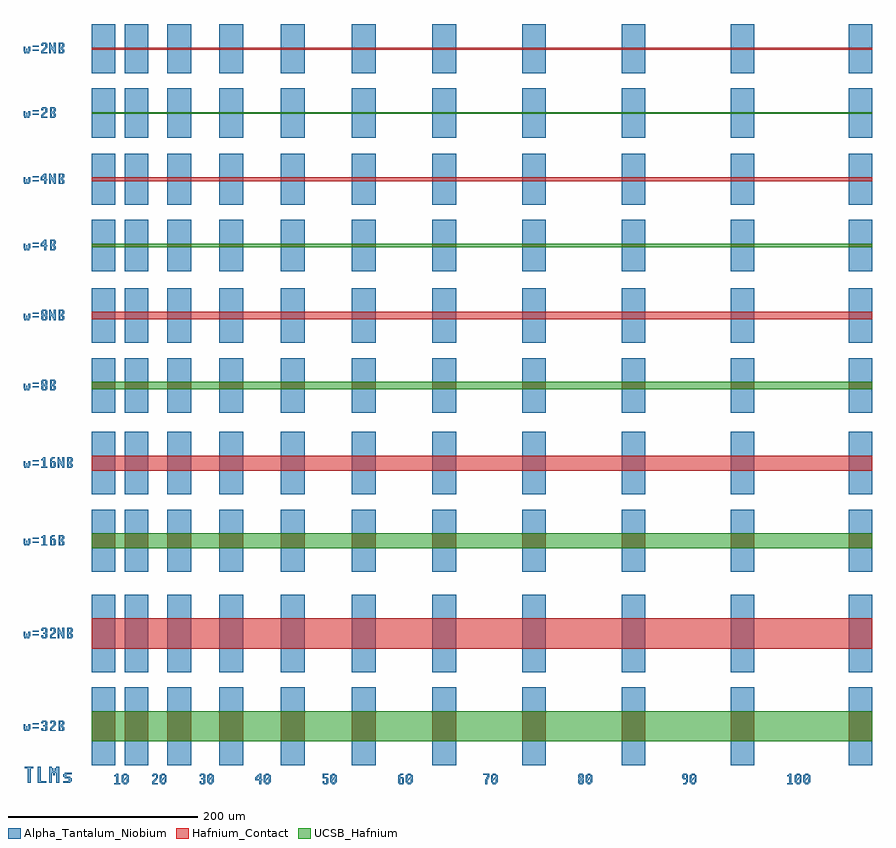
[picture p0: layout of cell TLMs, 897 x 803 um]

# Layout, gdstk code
import gdstk
lib = gdstk.Library(unit=1e-6, precision=1e-09)
def R(c, l, rs):  # rectangles x0, y0, x1, y1
    for r in rs: c.add(gdstk.rectangle(r[:2], r[2:], *l))
def P(c, l, *ps):  # polygons
    for p in ps: c.add(gdstk.Polygon(p, *l))
Alpha_Tantalum_Niobium = (0, 0)
UCSB_Hafnium = (1, 0)
Hafnium_Contact = (2, 0)

tlms = lib.new_cell('TLMs')
R(tlms, Alpha_Tantalum_Niobium, [(35,-56,36,-55), (75,-56,76,-55), (125,-56,126,-55), (185,-56,186,-55), (255,-56,256,-55), (335,-56,336,-55), (425,-56,426,-55), (525,-56,526,-55), (635,-56,636,-55), (746,-56,747,-55), (755,-56,756,-55), (0,-41,25,41), (35,-41,60,41), (35,-41,60,41), (80,-41,105,41), (80,-41,105,41), (135,-41,160,41), (135,-41,160,41), (200,-41,225,41), (200,-41,225,41), (275,-41,300,41), (275,-41,300,41), (360,-41,385,41), (360,-41,385,41), (455,-41,480,41), (455,-41,480,41), (560,-41,585,41), (560,-41,585,41), (675,-41,700,41), (675,-41,700,41), (800,-41,825,41), (-62,-2,-56,-1), (-62,2,-56,3), (0,57,25,139), (35,57,60,139), (35,57,60,139), (80,57,105,139), (80,57,105,139), (135,57,160,139), (135,57,160,139), (200,57,225,139), (200,57,225,139), (275,57,300,139), (275,57,300,139), (360,57,385,139), (360,57,385,139), (455,57,480,139), (455,57,480,139), (560,57,585,139), (560,57,585,139), (675,57,700,139), (675,57,700,139), (800,57,825,139), (-62,96,-56,97), (-62,100,-56,101), (0,163,25,229), (35,163,60,229), (35,163,60,229), (80,163,105,229), (80,163,105,229), (135,163,160,229), (135,163,160,229), (200,163,225,229), (200,163,225,229), (275,163,300,229), (275,163,300,229), (360,163,385,229), (360,163,385,229), (455,163,480,229), (455,163,480,229), (560,163,585,229), (560,163,585,229), (675,163,700,229), (675,163,700,229), (800,163,825,229), (-62,194,-56,195), (-62,198,-56,199), (0,245,25,311), (35,245,60,311), (35,245,60,311), (80,245,105,311), (80,245,105,311), (135,245,160,311), (135,245,160,311), (200,245,225,311), (200,245,225,311), (275,245,300,311), (275,245,300,311), (360,245,385,311), (360,245,385,311), (455,245,480,311), (455,245,480,311), (560,245,585,311), (560,245,585,311), (675,245,700,311), (675,245,700,311), (800,245,825,311), (-62,276,-56,277), (-62,280,-56,281), (0,331,25,389), (35,331,60,389), (35,331,60,389), (80,331,105,389), (80,331,105,389), (135,331,160,389), (135,331,160,389), (200,331,225,389), (200,331,225,389), (275,331,300,389), (275,331,300,389), (360,331,385,389), (360,331,385,389), (455,331,480,389), (455,331,480,389), (560,331,585,389), (560,331,585,389), (675,331,700,389), (675,331,700,389), (800,331,825,389), (-62,358,-56,359), (-62,362,-56,363), (0,405,25,463), (35,405,60,463), (35,405,60,463), (80,405,105,463), (80,405,105,463), (135,405,160,463), (135,405,160,463), (200,405,225,463), (200,405,225,463), (275,405,300,463), (275,405,300,463), (360,405,385,463), (360,405,385,463), (455,405,480,463), (455,405,480,463), (560,405,585,463), (560,405,585,463), (675,405,700,463), (675,405,700,463), (800,405,825,463), (-62,432,-56,433), (-62,436,-56,437), (0,481,25,535), (35,481,60,535), (35,481,60,535), (80,481,105,535), (80,481,105,535), (135,481,160,535), (135,481,160,535), (200,481,225,535), (200,481,225,535), (275,481,300,535), (275,481,300,535), (360,481,385,535), (360,481,385,535), (455,481,480,535), (455,481,480,535), (560,481,585,535), (560,481,585,535), (675,481,700,535), (675,481,700,535), (800,481,825,535), (-62,506,-56,507), (-62,510,-56,511), (0,551,25,605), (35,551,60,605), (35,551,60,605), (80,551,105,605), (80,551,105,605), (135,551,160,605), (135,551,160,605), (200,551,225,605), (200,551,225,605), (275,551,300,605), (275,551,300,605), (360,551,385,605), (360,551,385,605), (455,551,480,605), (455,551,480,605), (560,551,585,605), (560,551,585,605), (675,551,700,605), (675,551,700,605), (800,551,825,605), (-62,576,-56,577), (-62,580,-56,581), (0,622,25,674), (35,622,60,674), (35,622,60,674), (80,622,105,674), (80,622,105,674), (135,622,160,674), (135,622,160,674), (200,622,225,674), (200,622,225,674), (275,622,300,674), (275,622,300,674), (360,622,385,674), (360,622,385,674), (455,622,480,674), (455,622,480,674), (560,622,585,674), (560,622,585,674), (675,622,700,674), (675,622,700,674), (800,622,825,674), (-62,646,-56,647), (-62,650,-56,651), (0,690,25,742), (35,690,60,742), (35,690,60,742), (80,690,105,742), (80,690,105,742), (135,690,160,742), (135,690,160,742), (200,690,225,742), (200,690,225,742), (275,690,300,742), (275,690,300,742), (360,690,385,742), (360,690,385,742), (455,690,480,742), (455,690,480,742), (560,690,585,742), (560,690,585,742), (675,690,700,742), (675,690,700,742), (800,690,825,742), (-62,714,-56,715), (-62,718,-56,719)])
P(tlms, Alpha_Tantalum_Niobium, [(-71,-3),(-71,-5),(-69,-5),(-69,-4),(-68,-4),(-68,-5),(-66,-5),(-66,-3),(-65,-3),(-65,2),(-67,2),(-67,-3),(-68,-3),(-68,0),(-69,0),(-69,-3),(-70,-3),(-70,2),(-72,2),(-72,-3)],
  [(-52,-4),(-52,-5),(-48,-5),(-48,-4),(-47,-4),(-47,0),(-48,0),(-48,1),(-47,1),(-47,5),(-48,5),(-48,6),(-52,6),(-52,5),(-53,5),(-53,3),(-51,3),(-51,5),(-49,5),(-49,1),(-51,1),(-51,0),(-49,0),(-49,-4),(-51,-4),(-51,-2),(-53,-2),(-53,-4)],
  [(-44,3),(-42,3),(-42,5),(-40,5),(-40,1),(-41,1),(-41,0),(-42,0),(-42,-1),(-43,-1),(-43,-2),(-44,-2),(-44,-5),(-38,-5),(-38,-4),(-42,-4),(-42,-2),(-41,-2),(-41,-1),(-40,-1),(-40,0),(-39,0),(-39,1),(-38,1),(-38,5),(-39,5),(-39,6),(-43,6),(-43,5),(-44,5)],
  [(-29,-1),(-30,-1),(-30,0),(-31,0),(-31,1),(-30,1),(-30,2),(-29,2),(-29,5),(-30,5),(-30,6),(-35,6),(-35,1),(-33,1),(-33,5),(-31,5),(-31,2),(-32,2),(-32,1),(-33,1),(-35,1),(-35,-4),(-33,-4),(-33,0),(-32,0),(-32,-1),(-31,-1),(-31,-4),(-33,-4),(-35,-4),(-35,-5),(-30,-5),(-30,-4),(-29,-4)],
  [(-71,95),(-71,93),(-69,93),(-69,94),(-68,94),(-68,93),(-66,93),(-66,95),(-65,95),(-65,100),(-67,100),(-67,95),(-68,95),(-68,98),(-69,98),(-69,95),(-70,95),(-70,100),(-72,100),(-72,95)],
  [(-52,94),(-52,93),(-48,93),(-48,94),(-47,94),(-47,98),(-48,98),(-48,99),(-47,99),(-47,103),(-48,103),(-48,104),(-52,104),(-52,103),(-53,103),(-53,101),(-51,101),(-51,103),(-49,103),(-49,99),(-51,99),(-51,98),(-49,98),(-49,94),(-51,94),(-51,96),(-53,96),(-53,94)],
  [(-44,101),(-42,101),(-42,103),(-40,103),(-40,99),(-41,99),(-41,98),(-42,98),(-42,97),(-43,97),(-43,96),(-44,96),(-44,93),(-38,93),(-38,94),(-42,94),(-42,96),(-41,96),(-41,97),(-40,97),(-40,98),(-39,98),(-39,99),(-38,99),(-38,103),(-39,103),(-39,104),(-43,104),(-43,103),(-44,103)],
  [(-34,93),(-34,98),(-33,98),(-33,97),(-32,97),(-32,95),(-31,95),(-31,93),(-29,93),(-29,104),(-31,104),(-31,99),(-32,99),(-32,100),(-33,100),(-33,102),(-34,102),(-34,104),(-36,104),(-36,93)],
  [(-20,97),(-21,97),(-21,98),(-22,98),(-22,99),(-21,99),(-21,100),(-20,100),(-20,103),(-21,103),(-21,104),(-26,104),(-26,99),(-24,99),(-24,103),(-22,103),(-22,100),(-23,100),(-23,99),(-24,99),(-26,99),(-26,94),(-24,94),(-24,98),(-23,98),(-23,97),(-22,97),(-22,94),(-24,94),(-26,94),(-26,93),(-21,93),(-21,94),(-20,94)],
  [(-71,193),(-71,191),(-69,191),(-69,192),(-68,192),(-68,191),(-66,191),(-66,193),(-65,193),(-65,198),(-67,198),(-67,193),(-68,193),(-68,196),(-69,196),(-69,193),(-70,193),(-70,198),(-72,198),(-72,193)],
  [(-52,200),(-53,200),(-53,199),(-51,199),(-51,192),(-53,192),(-53,191),(-47,191),(-47,192),(-49,192),(-49,202),(-51,202),(-51,201),(-52,201)],
  [(-38,197),(-39,197),(-39,198),(-42,198),(-42,200),(-41,200),(-41,201),(-39,201),(-39,202),(-42,202),(-42,201),(-43,201),(-43,200),(-44,200),(-44,192),(-42,192),(-42,197),(-40,197),(-40,192),(-42,192),(-44,192),(-43,192),(-43,191),(-39,191),(-39,192),(-38,192)],
  [(-29,195),(-30,195),(-30,196),(-31,196),(-31,197),(-30,197),(-30,198),(-29,198),(-29,201),(-30,201),(-30,202),(-35,202),(-35,197),(-33,197),(-33,201),(-31,201),(-31,198),(-32,198),(-32,197),(-33,197),(-35,197),(-35,192),(-33,192),(-33,196),(-32,196),(-32,195),(-31,195),(-31,192),(-33,192),(-35,192),(-35,191),(-30,191),(-30,192),(-29,192)],
  [(-71,275),(-71,273),(-69,273),(-69,274),(-68,274),(-68,273),(-66,273),(-66,275),(-65,275),(-65,280),(-67,280),(-67,275),(-68,275),(-68,278),(-69,278),(-69,275),(-70,275),(-70,280),(-72,280),(-72,275)],
  [(-52,282),(-53,282),(-53,281),(-51,281),(-51,274),(-53,274),(-53,273),(-47,273),(-47,274),(-49,274),(-49,284),(-51,284),(-51,283),(-52,283)],
  [(-38,279),(-39,279),(-39,280),(-42,280),(-42,282),(-41,282),(-41,283),(-39,283),(-39,284),(-42,284),(-42,283),(-43,283),(-43,282),(-44,282),(-44,274),(-42,274),(-42,279),(-40,279),(-40,274),(-42,274),(-44,274),(-43,274),(-43,273),(-39,273),(-39,274),(-38,274)],
  [(-34,273),(-34,278),(-33,278),(-33,277),(-32,277),(-32,275),(-31,275),(-31,273),(-29,273),(-29,284),(-31,284),(-31,279),(-32,279),(-32,280),(-33,280),(-33,282),(-34,282),(-34,284),(-36,284),(-36,273)],
  [(-20,277),(-21,277),(-21,278),(-22,278),(-22,279),(-21,279),(-21,280),(-20,280),(-20,283),(-21,283),(-21,284),(-26,284),(-26,279),(-24,279),(-24,283),(-22,283),(-22,280),(-23,280),(-23,279),(-24,279),(-26,279),(-26,274),(-24,274),(-24,278),(-23,278),(-23,277),(-22,277),(-22,274),(-24,274),(-26,274),(-26,273),(-21,273),(-21,274),(-20,274)],
  [(-71,357),(-71,355),(-69,355),(-69,356),(-68,356),(-68,355),(-66,355),(-66,357),(-65,357),(-65,362),(-67,362),(-67,357),(-68,357),(-68,360),(-69,360),(-69,357),(-70,357),(-70,362),(-72,362),(-72,357)],
  [(-47,360),(-48,360),(-48,361),(-47,361),(-47,365),(-48,365),(-48,366),(-52,366),(-52,365),(-53,365),(-53,362),(-51,362),(-51,365),(-49,365),(-49,361),(-50,361),(-50,362),(-51,362),(-53,362),(-53,361),(-52,361),(-52,360),(-53,360),(-53,356),(-51,356),(-51,360),(-50,360),(-50,359),(-49,359),(-49,356),(-51,356),(-53,356),(-52,356),(-52,355),(-48,355),(-48,356),(-47,356)],
  [(-38,359),(-39,359),(-39,360),(-40,360),(-40,361),(-39,361),(-39,362),(-38,362),(-38,365),(-39,365),(-39,366),(-44,366),(-44,361),(-42,361),(-42,365),(-40,365),(-40,362),(-41,362),(-41,361),(-42,361),(-44,361),(-44,356),(-42,356),(-42,360),(-41,360),(-41,359),(-40,359),(-40,356),(-42,356),(-44,356),(-44,355),(-39,355),(-39,356),(-38,356)],
  [(-71,431),(-71,429),(-69,429),(-69,430),(-68,430),(-68,429),(-66,429),(-66,431),(-65,431),(-65,436),(-67,436),(-67,431),(-68,431),(-68,434),(-69,434),(-69,431),(-70,431),(-70,436),(-72,436),(-72,431)],
  [(-47,434),(-48,434),(-48,435),(-47,435),(-47,439),(-48,439),(-48,440),(-52,440),(-52,439),(-53,439),(-53,436),(-51,436),(-51,439),(-49,439),(-49,435),(-50,435),(-50,436),(-51,436),(-53,436),(-53,435),(-52,435),(-52,434),(-53,434),(-53,430),(-51,430),(-51,434),(-50,434),(-50,433),(-49,433),(-49,430),(-51,430),(-53,430),(-52,430),(-52,429),(-48,429),(-48,430),(-47,430)],
  [(-43,429),(-43,434),(-42,434),(-42,433),(-41,433),(-41,431),(-40,431),(-40,429),(-38,429),(-38,440),(-40,440),(-40,435),(-41,435),(-41,436),(-42,436),(-42,438),(-43,438),(-43,440),(-45,440),(-45,429)],
  [(-29,433),(-30,433),(-30,434),(-31,434),(-31,435),(-30,435),(-30,436),(-29,436),(-29,439),(-30,439),(-30,440),(-35,440),(-35,435),(-33,435),(-33,439),(-31,439),(-31,436),(-32,436),(-32,435),(-33,435),(-35,435),(-35,430),(-33,430),(-33,434),(-32,434),(-32,433),(-31,433),(-31,430),(-33,430),(-35,430),(-35,429),(-30,429),(-30,430),(-29,430)],
  [(-71,505),(-71,503),(-69,503),(-69,504),(-68,504),(-68,503),(-66,503),(-66,505),(-65,505),(-65,510),(-67,510),(-67,505),(-68,505),(-68,508),(-69,508),(-69,505),(-70,505),(-70,510),(-72,510),(-72,505)],
  [(-48,503),(-48,507),(-47,507),(-47,508),(-48,508),(-48,514),(-50,514),(-50,513),(-51,513),(-51,512),(-52,512),(-52,511),(-53,511),(-53,510),(-54,510),(-54,508),(-52,508),(-52,510),(-51,510),(-51,511),(-50,511),(-50,508),(-52,508),(-54,508),(-54,507),(-50,507),(-50,503)],
  [(-38,507),(-39,507),(-39,508),(-40,508),(-40,509),(-39,509),(-39,510),(-38,510),(-38,513),(-39,513),(-39,514),(-44,514),(-44,509),(-42,509),(-42,513),(-40,513),(-40,510),(-41,510),(-41,509),(-42,509),(-44,509),(-44,504),(-42,504),(-42,508),(-41,508),(-41,507),(-40,507),(-40,504),(-42,504),(-44,504),(-44,503),(-39,503),(-39,504),(-38,504)],
  [(-71,575),(-71,573),(-69,573),(-69,574),(-68,574),(-68,573),(-66,573),(-66,575),(-65,575),(-65,580),(-67,580),(-67,575),(-68,575),(-68,578),(-69,578),(-69,575),(-70,575),(-70,580),(-72,580),(-72,575)],
  [(-48,573),(-48,577),(-47,577),(-47,578),(-48,578),(-48,584),(-50,584),(-50,583),(-51,583),(-51,582),(-52,582),(-52,581),(-53,581),(-53,580),(-54,580),(-54,578),(-52,578),(-52,580),(-51,580),(-51,581),(-50,581),(-50,578),(-52,578),(-54,578),(-54,577),(-50,577),(-50,573)],
  [(-43,573),(-43,578),(-42,578),(-42,577),(-41,577),(-41,575),(-40,575),(-40,573),(-38,573),(-38,584),(-40,584),(-40,579),(-41,579),(-41,580),(-42,580),(-42,582),(-43,582),(-43,584),(-45,584),(-45,573)],
  [(-29,577),(-30,577),(-30,578),(-31,578),(-31,579),(-30,579),(-30,580),(-29,580),(-29,583),(-30,583),(-30,584),(-35,584),(-35,579),(-33,579),(-33,583),(-31,583),(-31,580),(-32,580),(-32,579),(-33,579),(-35,579),(-35,574),(-33,574),(-33,578),(-32,578),(-32,577),(-31,577),(-31,574),(-33,574),(-35,574),(-35,573),(-30,573),(-30,574),(-29,574)],
  [(-71,645),(-71,643),(-69,643),(-69,644),(-68,644),(-68,643),(-66,643),(-66,645),(-65,645),(-65,650),(-67,650),(-67,645),(-68,645),(-68,648),(-69,648),(-69,645),(-70,645),(-70,650),(-72,650),(-72,645)],
  [(-53,651),(-51,651),(-51,653),(-49,653),(-49,649),(-50,649),(-50,648),(-51,648),(-51,647),(-52,647),(-52,646),(-53,646),(-53,643),(-47,643),(-47,644),(-51,644),(-51,646),(-50,646),(-50,647),(-49,647),(-49,648),(-48,648),(-48,649),(-47,649),(-47,653),(-48,653),(-48,654),(-52,654),(-52,653),(-53,653)],
  [(-38,647),(-39,647),(-39,648),(-40,648),(-40,649),(-39,649),(-39,650),(-38,650),(-38,653),(-39,653),(-39,654),(-44,654),(-44,649),(-42,649),(-42,653),(-40,653),(-40,650),(-41,650),(-41,649),(-42,649),(-44,649),(-44,644),(-42,644),(-42,648),(-41,648),(-41,647),(-40,647),(-40,644),(-42,644),(-44,644),(-44,643),(-39,643),(-39,644),(-38,644)],
  [(-71,713),(-71,711),(-69,711),(-69,712),(-68,712),(-68,711),(-66,711),(-66,713),(-65,713),(-65,718),(-67,718),(-67,713),(-68,713),(-68,716),(-69,716),(-69,713),(-70,713),(-70,718),(-72,718),(-72,713)],
  [(-53,719),(-51,719),(-51,721),(-49,721),(-49,717),(-50,717),(-50,716),(-51,716),(-51,715),(-52,715),(-52,714),(-53,714),(-53,711),(-47,711),(-47,712),(-51,712),(-51,714),(-50,714),(-50,715),(-49,715),(-49,716),(-48,716),(-48,717),(-47,717),(-47,721),(-48,721),(-48,722),(-52,722),(-52,721),(-53,721)],
  [(-43,711),(-43,716),(-42,716),(-42,715),(-41,715),(-41,713),(-40,713),(-40,711),(-38,711),(-38,722),(-40,722),(-40,717),(-41,717),(-41,718),(-42,718),(-42,720),(-43,720),(-43,722),(-45,722),(-45,711)],
  [(-29,715),(-30,715),(-30,716),(-31,716),(-31,717),(-30,717),(-30,718),(-29,718),(-29,721),(-30,721),(-30,722),(-35,722),(-35,717),(-33,717),(-33,721),(-31,721),(-31,718),(-32,718),(-32,717),(-33,717),(-35,717),(-35,712),(-33,712),(-33,716),(-32,716),(-32,715),(-31,715),(-31,712),(-33,712),(-35,712),(-35,711),(-30,711),(-30,712),(-29,712)],
  [(25,-52),(24,-52),(24,-53),(26,-53),(26,-60),(24,-60),(24,-61),(30,-61),(30,-60),(28,-60),(28,-50),(26,-50),(26,-51),(25,-51)],
  [(38,-59),(39,-59),(39,-52),(38,-52),(38,-51),(37,-51),(37,-50),(34,-50),(34,-51),(33,-51),(33,-52),(32,-52),(32,-59),(34,-59),(34,-57),(35,-57),(35,-56),(34,-56),(34,-52),(35,-52),(35,-51),(36,-51),(36,-52),(37,-52),(37,-54),(36,-54),(36,-55),(37,-55),(37,-59),(36,-59),(36,-60),(35,-60),(35,-59),(34,-59),(32,-59),(33,-59),(33,-60),(34,-60),(34,-61),(37,-61),(37,-60),(38,-60)],
  [(64,-53),(66,-53),(66,-51),(68,-51),(68,-55),(67,-55),(67,-56),(66,-56),(66,-57),(65,-57),(65,-58),(64,-58),(64,-61),(70,-61),(70,-60),(66,-60),(66,-58),(67,-58),(67,-57),(68,-57),(68,-56),(69,-56),(69,-55),(70,-55),(70,-51),(69,-51),(69,-50),(65,-50),(65,-51),(64,-51)],
  [(78,-59),(79,-59),(79,-52),(78,-52),(78,-51),(77,-51),(77,-50),(74,-50),(74,-51),(73,-51),(73,-52),(72,-52),(72,-59),(74,-59),(74,-57),(75,-57),(75,-56),(74,-56),(74,-52),(75,-52),(75,-51),(76,-51),(76,-52),(77,-52),(77,-54),(76,-54),(76,-55),(77,-55),(77,-59),(76,-59),(76,-60),(75,-60),(75,-59),(74,-59),(72,-59),(73,-59),(73,-60),(74,-60),(74,-61),(77,-61),(77,-60),(78,-60)],
  [(115,-60),(115,-61),(119,-61),(119,-60),(120,-60),(120,-56),(119,-56),(119,-55),(120,-55),(120,-51),(119,-51),(119,-50),(115,-50),(115,-51),(114,-51),(114,-53),(116,-53),(116,-51),(118,-51),(118,-55),(116,-55),(116,-56),(118,-56),(118,-60),(116,-60),(116,-58),(114,-58),(114,-60)],
  [(128,-59),(129,-59),(129,-52),(128,-52),(128,-51),(127,-51),(127,-50),(124,-50),(124,-51),(123,-51),(123,-52),(122,-52),(122,-59),(124,-59),(124,-57),(125,-57),(125,-56),(124,-56),(124,-52),(125,-52),(125,-51),(126,-51),(126,-52),(127,-52),(127,-54),(126,-54),(126,-55),(127,-55),(127,-59),(126,-59),(126,-60),(125,-60),(125,-59),(124,-59),(122,-59),(123,-59),(123,-60),(124,-60),(124,-61),(127,-61),(127,-60),(128,-60)],
  [(179,-61),(179,-57),(180,-57),(180,-56),(179,-56),(179,-50),(177,-50),(177,-51),(176,-51),(176,-52),(175,-52),(175,-53),(174,-53),(174,-54),(173,-54),(173,-56),(175,-56),(175,-54),(176,-54),(176,-53),(177,-53),(177,-56),(175,-56),(173,-56),(173,-57),(177,-57),(177,-61)],
  [(188,-59),(189,-59),(189,-52),(188,-52),(188,-51),(187,-51),(187,-50),(184,-50),(184,-51),(183,-51),(183,-52),(182,-52),(182,-59),(184,-59),(184,-57),(185,-57),(185,-56),(184,-56),(184,-52),(185,-52),(185,-51),(186,-51),(186,-52),(187,-52),(187,-54),(186,-54),(186,-55),(187,-55),(187,-59),(186,-59),(186,-60),(185,-60),(185,-59),(184,-59),(182,-59),(183,-59),(183,-60),(184,-60),(184,-61),(187,-61),(187,-60),(188,-60)],
  [(245,-60),(245,-61),(249,-61),(249,-60),(250,-60),(250,-55),(249,-55),(249,-54),(246,-54),(246,-51),(250,-51),(250,-50),(244,-50),(244,-55),(248,-55),(248,-60),(246,-60),(246,-58),(244,-58),(244,-60)],
  [(258,-59),(259,-59),(259,-52),(258,-52),(258,-51),(257,-51),(257,-50),(254,-50),(254,-51),(253,-51),(253,-52),(252,-52),(252,-59),(254,-59),(254,-57),(255,-57),(255,-56),(254,-56),(254,-52),(255,-52),(255,-51),(256,-51),(256,-52),(257,-52),(257,-54),(256,-54),(256,-55),(257,-55),(257,-59),(256,-59),(256,-60),(255,-60),(255,-59),(254,-59),(252,-59),(253,-59),(253,-60),(254,-60),(254,-61),(257,-61),(257,-60),(258,-60)],
  [(330,-55),(329,-55),(329,-54),(326,-54),(326,-52),(327,-52),(327,-51),(329,-51),(329,-50),(326,-50),(326,-51),(325,-51),(325,-52),(324,-52),(324,-60),(326,-60),(326,-55),(328,-55),(328,-60),(326,-60),(324,-60),(325,-60),(325,-61),(329,-61),(329,-60),(330,-60)],
  [(338,-59),(339,-59),(339,-52),(338,-52),(338,-51),(337,-51),(337,-50),(334,-50),(334,-51),(333,-51),(333,-52),(332,-52),(332,-59),(334,-59),(334,-57),(335,-57),(335,-56),(334,-56),(334,-52),(335,-52),(335,-51),(336,-51),(336,-52),(337,-52),(337,-54),(336,-54),(336,-55),(337,-55),(337,-59),(336,-59),(336,-60),(335,-60),(335,-59),(334,-59),(332,-59),(333,-59),(333,-60),(334,-60),(334,-61),(337,-61),(337,-60),(338,-60)],
  [(418,-54),(417,-54),(417,-56),(416,-56),(416,-61),(418,-61),(418,-56),(419,-56),(419,-54),(420,-54),(420,-50),(414,-50),(414,-51),(418,-51)],
  [(428,-59),(429,-59),(429,-52),(428,-52),(428,-51),(427,-51),(427,-50),(424,-50),(424,-51),(423,-51),(423,-52),(422,-52),(422,-59),(424,-59),(424,-57),(425,-57),(425,-56),(424,-56),(424,-52),(425,-52),(425,-51),(426,-51),(426,-52),(427,-52),(427,-54),(426,-54),(426,-55),(427,-55),(427,-59),(426,-59),(426,-60),(425,-60),(425,-59),(424,-59),(422,-59),(423,-59),(423,-60),(424,-60),(424,-61),(427,-61),(427,-60),(428,-60)],
  [(520,-56),(519,-56),(519,-55),(520,-55),(520,-51),(519,-51),(519,-50),(515,-50),(515,-51),(514,-51),(514,-54),(516,-54),(516,-51),(518,-51),(518,-55),(517,-55),(517,-54),(516,-54),(514,-54),(514,-55),(515,-55),(515,-56),(514,-56),(514,-60),(516,-60),(516,-56),(517,-56),(517,-57),(518,-57),(518,-60),(516,-60),(514,-60),(515,-60),(515,-61),(519,-61),(519,-60),(520,-60)],
  [(528,-59),(529,-59),(529,-52),(528,-52),(528,-51),(527,-51),(527,-50),(524,-50),(524,-51),(523,-51),(523,-52),(522,-52),(522,-59),(524,-59),(524,-57),(525,-57),(525,-56),(524,-56),(524,-52),(525,-52),(525,-51),(526,-51),(526,-52),(527,-52),(527,-54),(526,-54),(526,-55),(527,-55),(527,-59),(526,-59),(526,-60),(525,-60),(525,-59),(524,-59),(522,-59),(523,-59),(523,-60),(524,-60),(524,-61),(527,-61),(527,-60),(528,-60)],
  [(628,-59),(627,-59),(627,-60),(625,-60),(625,-61),(628,-61),(628,-60),(629,-60),(629,-59),(630,-59),(630,-51),(629,-51),(629,-50),(625,-50),(625,-51),(624,-51),(624,-55),(626,-55),(626,-51),(628,-51),(628,-55),(626,-55),(624,-55),(625,-55),(625,-56),(628,-56)],
  [(638,-59),(639,-59),(639,-52),(638,-52),(638,-51),(637,-51),(637,-50),(634,-50),(634,-51),(633,-51),(633,-52),(632,-52),(632,-59),(634,-59),(634,-57),(635,-57),(635,-56),(634,-56),(634,-52),(635,-52),(635,-51),(636,-51),(636,-52),(637,-52),(637,-54),(636,-54),(636,-55),(637,-55),(637,-59),(636,-59),(636,-60),(635,-60),(635,-59),(634,-59),(632,-59),(633,-59),(633,-60),(634,-60),(634,-61),(637,-61),(637,-60),(638,-60)],
  [(736,-52),(735,-52),(735,-53),(737,-53),(737,-60),(735,-60),(735,-61),(741,-61),(741,-60),(739,-60),(739,-50),(737,-50),(737,-51),(736,-51)],
  [(749,-59),(750,-59),(750,-52),(749,-52),(749,-51),(748,-51),(748,-50),(745,-50),(745,-51),(744,-51),(744,-52),(743,-52),(743,-59),(745,-59),(745,-57),(746,-57),(746,-56),(745,-56),(745,-52),(746,-52),(746,-51),(747,-51),(747,-52),(748,-52),(748,-54),(747,-54),(747,-55),(748,-55),(748,-59),(747,-59),(747,-60),(746,-60),(746,-59),(745,-59),(743,-59),(744,-59),(744,-60),(745,-60),(745,-61),(748,-61),(748,-60),(749,-60)],
  [(758,-59),(759,-59),(759,-52),(758,-52),(758,-51),(757,-51),(757,-50),(754,-50),(754,-51),(753,-51),(753,-52),(752,-52),(752,-59),(754,-59),(754,-57),(755,-57),(755,-56),(754,-56),(754,-52),(755,-52),(755,-51),(756,-51),(756,-52),(757,-52),(757,-54),(756,-54),(756,-55),(757,-55),(757,-59),(756,-59),(756,-60),(755,-60),(755,-59),(754,-59),(752,-59),(753,-59),(753,-60),(754,-60),(754,-61),(757,-61),(757,-60),(758,-60)],
  [(-64.5,-59.5),(-64.5,-44.5),(-61.5,-44.5),(-61.5,-43),(-70.5,-43),(-70.5,-44.5),(-67.5,-44.5),(-67.5,-59.5)],
  [(-48,-59.5),(-48,-58),(-54,-58),(-54,-43),(-57,-43),(-57,-59.5)],
  [(-42,-59.5),(-42,-49),(-40.5,-49),(-40.5,-52),(-39,-52),(-39,-49),(-37.5,-49),(-37.5,-59.5),(-34.5,-59.5),(-34.5,-43),(-37.5,-43),(-37.5,-44.5),(-39,-44.5),(-39,-47.5),(-40.5,-47.5),(-40.5,-44.5),(-42,-44.5),(-42,-43),(-45,-43),(-45,-59.5)],
  [(-30,-53.5),(-28.5,-53.5),(-28.5,-55),(-24,-55),(-24,-58),(-30,-58),(-30,-59.5),(-22.5,-59.5),(-22.5,-58),(-21,-58),(-21,-55),(-22.5,-55),(-22.5,-53.5),(-27,-53.5),(-27,-50.5),(-21,-50.5),(-21,-49),(-28.5,-49),(-28.5,-50.5),(-30,-50.5)])
R(tlms, UCSB_Hafnium, [(0,-16,60,16), (35,-16,105,16), (80,-16,160,16), (135,-16,225,16), (200,-16,300,16), (275,-16,385,16), (360,-16,480,16), (455,-16,585,16), (560,-16,700,16), (675,-16,825,16), (0,188,60,204), (35,188,105,204), (80,188,160,204), (135,188,225,204), (200,188,300,204), (275,188,385,204), (360,188,480,204), (455,188,585,204), (560,188,700,204), (675,188,825,204), (0,356,60,364), (35,356,105,364), (80,356,160,364), (135,356,225,364), (200,356,300,364), (275,356,385,364), (360,356,480,364), (455,356,585,364), (560,356,700,364), (675,356,825,364), (0,506,60,510), (35,506,105,510), (80,506,160,510), (135,506,225,510), (200,506,300,510), (275,506,385,510), (360,506,480,510), (455,506,585,510), (560,506,700,510), (675,506,825,510), (0,647,60,649), (35,647,105,649), (80,647,160,649), (135,647,225,649), (200,647,300,649), (275,647,385,649), (360,647,480,649), (455,647,585,649), (560,647,700,649), (675,647,825,649)])
R(tlms, Hafnium_Contact, [(0,-16,25,16), (35,-16,60,16), (35,-16,60,16), (80,-16,105,16), (80,-16,105,16), (135,-16,160,16), (135,-16,160,16), (200,-16,225,16), (200,-16,225,16), (275,-16,300,16), (275,-16,300,16), (360,-16,385,16), (360,-16,385,16), (455,-16,480,16), (455,-16,480,16), (560,-16,585,16), (560,-16,585,16), (675,-16,700,16), (675,-16,700,16), (800,-16,825,16), (0,82,25,114), (0,82,60,114), (35,82,60,114), (35,82,60,114), (35,82,105,114), (80,82,105,114), (80,82,105,114), (80,82,160,114), (135,82,160,114), (135,82,160,114), (135,82,225,114), (200,82,225,114), (200,82,225,114), (200,82,300,114), (275,82,300,114), (275,82,300,114), (275,82,385,114), (360,82,385,114), (360,82,385,114), (360,82,480,114), (455,82,480,114), (455,82,480,114), (455,82,585,114), (560,82,585,114), (560,82,585,114), (560,82,700,114), (675,82,700,114), (675,82,700,114), (675,82,825,114), (800,82,825,114), (0,188,25,204), (35,188,60,204), (35,188,60,204), (80,188,105,204), (80,188,105,204), (135,188,160,204), (135,188,160,204), (200,188,225,204), (200,188,225,204), (275,188,300,204), (275,188,300,204), (360,188,385,204), (360,188,385,204), (455,188,480,204), (455,188,480,204), (560,188,585,204), (560,188,585,204), (675,188,700,204), (675,188,700,204), (800,188,825,204), (0,270,25,286), (0,270,60,286), (35,270,60,286), (35,270,60,286), (35,270,105,286), (80,270,105,286), (80,270,105,286), (80,270,160,286), (135,270,160,286), (135,270,160,286), (135,270,225,286), (200,270,225,286), (200,270,225,286), (200,270,300,286), (275,270,300,286), (275,270,300,286), (275,270,385,286), (360,270,385,286), (360,270,385,286), (360,270,480,286), (455,270,480,286), (455,270,480,286), (455,270,585,286), (560,270,585,286), (560,270,585,286), (560,270,700,286), (675,270,700,286), (675,270,700,286), (675,270,825,286), (800,270,825,286), (0,356,25,364), (35,356,60,364), (35,356,60,364), (80,356,105,364), (80,356,105,364), (135,356,160,364), (135,356,160,364), (200,356,225,364), (200,356,225,364), (275,356,300,364), (275,356,300,364), (360,356,385,364), (360,356,385,364), (455,356,480,364), (455,356,480,364), (560,356,585,364), (560,356,585,364), (675,356,700,364), (675,356,700,364), (800,356,825,364), (0,430,25,438), (0,430,60,438), (35,430,60,438), (35,430,60,438), (35,430,105,438), (80,430,105,438), (80,430,105,438), (80,430,160,438), (135,430,160,438), (135,430,160,438), (135,430,225,438), (200,430,225,438), (200,430,225,438), (200,430,300,438), (275,430,300,438), (275,430,300,438), (275,430,385,438), (360,430,385,438), (360,430,385,438), (360,430,480,438), (455,430,480,438), (455,430,480,438), (455,430,585,438), (560,430,585,438), (560,430,585,438), (560,430,700,438), (675,430,700,438), (675,430,700,438), (675,430,825,438), (800,430,825,438), (0,506,25,510), (35,506,60,510), (35,506,60,510), (80,506,105,510), (80,506,105,510), (135,506,160,510), (135,506,160,510), (200,506,225,510), (200,506,225,510), (275,506,300,510), (275,506,300,510), (360,506,385,510), (360,506,385,510), (455,506,480,510), (455,506,480,510), (560,506,585,510), (560,506,585,510), (675,506,700,510), (675,506,700,510), (800,506,825,510), (0,576,25,580), (0,576,60,580), (35,576,60,580), (35,576,60,580), (35,576,105,580), (80,576,105,580), (80,576,105,580), (80,576,160,580), (135,576,160,580), (135,576,160,580), (135,576,225,580), (200,576,225,580), (200,576,225,580), (200,576,300,580), (275,576,300,580), (275,576,300,580), (275,576,385,580), (360,576,385,580), (360,576,385,580), (360,576,480,580), (455,576,480,580), (455,576,480,580), (455,576,585,580), (560,576,585,580), (560,576,585,580), (560,576,700,580), (675,576,700,580), (675,576,700,580), (675,576,825,580), (800,576,825,580), (0,647,25,649), (35,647,60,649), (35,647,60,649), (80,647,105,649), (80,647,105,649), (135,647,160,649), (135,647,160,649), (200,647,225,649), (200,647,225,649), (275,647,300,649), (275,647,300,649), (360,647,385,649), (360,647,385,649), (455,647,480,649), (455,647,480,649), (560,647,585,649), (560,647,585,649), (675,647,700,649), (675,647,700,649), (800,647,825,649), (0,715,25,717), (0,715,60,717), (35,715,60,717), (35,715,60,717), (35,715,105,717), (80,715,105,717), (80,715,105,717), (80,715,160,717), (135,715,160,717), (135,715,160,717), (135,715,225,717), (200,715,225,717), (200,715,225,717), (200,715,300,717), (275,715,300,717), (275,715,300,717), (275,715,385,717), (360,715,385,717), (360,715,385,717), (360,715,480,717), (455,715,480,717), (455,715,480,717), (455,715,585,717), (560,715,585,717), (560,715,585,717), (560,715,700,717), (675,715,700,717), (675,715,700,717), (675,715,825,717), (800,715,825,717)])

lib.write_gds('TLMs.gds')
